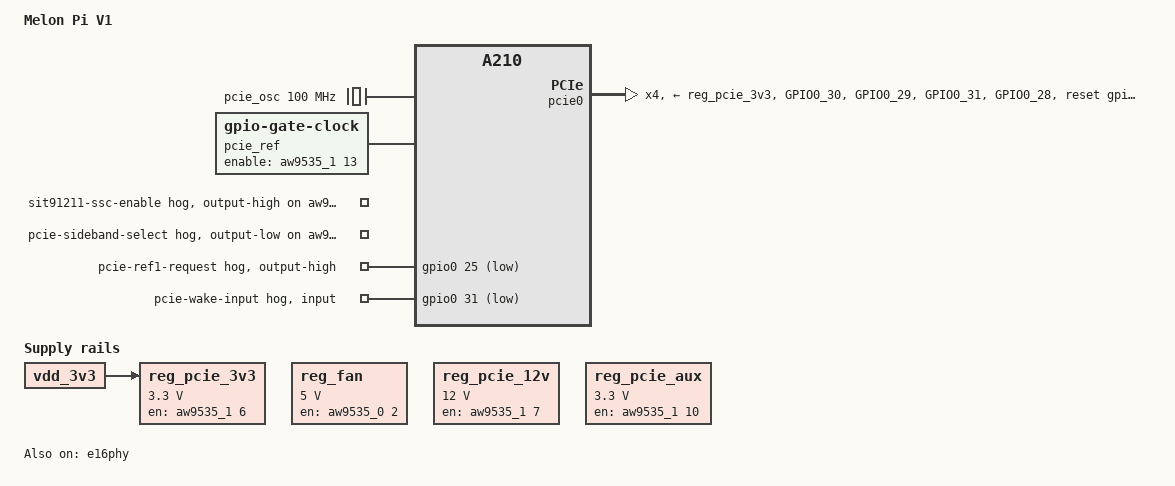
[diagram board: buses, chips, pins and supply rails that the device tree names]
// SPDX-License-Identifier: (GPL-2.0-only OR BSD-2-Clause)
/dts-v1/;

#include "a210-melonpi-common.dtsi"

/ {
	model = "Melon Pi V1";
	compatible = "zhihe,a210-melonpi-v1", "zhihe,a210-som",
		     "zhihe,a210";

	/* U31 P02 controls the TPS25923 feeding the two-pin fan. */
	reg_fan: regulator-fan {
		compatible = "regulator-fixed";
		regulator-name = "fan-5v";
		regulator-min-microvolt = <5000000>;
		regulator-max-microvolt = <5000000>;
		gpio = <&aw9535_0 2 GPIO_ACTIVE_HIGH>;
		enable-active-high;
		regulator-boot-on;
		regulator-always-on;
	};

	/* SIT91211 supplies the 100 MHz PCIe reference. */
	pcie_osc: pcie-oscillator {
		compatible = "fixed-clock";
		#clock-cells = <0>;
		clock-frequency = <100000000>;
	};

	pcie_ref: pcie-reference-clock {
		compatible = "gpio-gate-clock";
		#clock-cells = <0>;
		clocks = <&pcie_osc>;
		enable-gpios = <&aw9535_1 13 GPIO_ACTIVE_HIGH>;
	};

	reg_pcie_3v3: regulator-pcie-3v3 {
		compatible = "regulator-fixed";
		regulator-name = "pcie-3v3";
		regulator-min-microvolt = <3300000>;
		regulator-max-microvolt = <3300000>;
		vin-supply = <&vdd_3v3>;
		gpio = <&aw9535_1 6 GPIO_ACTIVE_HIGH>;
		enable-active-high;
		startup-delay-us = <100000>;
	};

	reg_pcie_12v: regulator-pcie-12v {
		compatible = "regulator-fixed";
		regulator-name = "pcie-12v";
		regulator-min-microvolt = <12000000>;
		regulator-max-microvolt = <12000000>;
		gpio = <&aw9535_1 7 GPIO_ACTIVE_HIGH>;
		enable-active-high;
		startup-delay-us = <100000>;
	};

	reg_pcie_aux: regulator-pcie-aux {
		/* WAKE# shares CHIP_ID1; keep AUX off without a wake consumer. */
		compatible = "regulator-fixed";
		regulator-name = "pcie-3v3-aux";
		regulator-min-microvolt = <3300000>;
		regulator-max-microvolt = <3300000>;
		gpio = <&aw9535_1 10 GPIO_ACTIVE_HIGH>;
		enable-active-high;
	};
};

&aw9535_0 {
	/* Keep the V1 clock control asserted across supply cycles. */
	sit91211-ssc-enable-hog {
		gpio-hog;
		gpios = <12 GPIO_ACTIVE_HIGH>;
		output-high;
		line-name = "sit91211-ssc-enable";
	};

	/* U35 routes the shared pins to PCIe, leaving I2S0 disconnected. */
	pcie-sideband-select-hog {
		gpio-hog;
		gpios = <15 GPIO_ACTIVE_HIGH>;
		output-low;
		line-name = "pcie-sideband-select";
	};
};

&gpio0 {
	/* The x4 link needs PHY1's clock without the x1 controller. */
	pcie-ref1-request-hog {
		gpio-hog;
		gpios = <25 GPIO_ACTIVE_LOW>;
		output-high;
		line-name = "pcie-ref1-request";
	};

	/* The dedicated WAKE function is an output for endpoint mode. */
	pcie-wake-hog {
		gpio-hog;
		gpios = <31 GPIO_ACTIVE_LOW>;
		input;
		line-name = "pcie-wake-input";
	};
};

&peri1_padctrl {
	pcie_sideband_pins: pcie-sideband-0 {
		clkreq-pins {
			pins = "GPIO0_29";
			function = "pcie_x4";
			bias-disable;
			drive-strength = <7>;
			input-enable;
			input-schmitt-enable;
			slew-rate = <0>;
		};

		wake-pins {
			pins = "GPIO0_31";
			function = "gpio0";
			bias-disable;
			drive-strength = <7>;
			input-enable;
			input-schmitt-enable;
			slew-rate = <0>;
		};

		/* BTN_RSTN reaches only TP41 through U35. */
		button-reset-pins {
			pins = "GPIO0_28";
			function = "pcie_x4";
			bias-pull-up;
			drive-strength = <7>;
			input-enable;
			input-schmitt-enable;
			slew-rate = <0>;
		};
	};

	/* The host driver selects GPIO mode when it acquires PERST#. */
	pcie_reset_pins: pcie-reset-0 {
		gpio-pins {
			pins = "GPIO0_30";
			bias-disable;
			drive-strength = <7>;
			input-disable;
		};
	};
};

&e16phy {
	clocks = <&clk_pcie E16PHY_PCLK_EN>, <&pcie_ref>;
	clock-names = "apb", "ref";
	data-lanes = <1 1 1 1>;
	status = "okay";
};

&pcie0 {
	pinctrl-names = "default";
	pinctrl-0 = <&pcie_reset_pins &pcie_sideband_pins>;
	num-lanes = <4>;
	reset-gpios = <&gpio0 30 GPIO_ACTIVE_LOW>;
	vpcie3v3-supply = <&reg_pcie_3v3>;
	vpcie12v-supply = <&reg_pcie_12v>;
	status = "okay";
};

&uart5 {
	status = "disabled";
};

/* UART8 needs the RS232/RS485 switch configured for the attachment. */
&uart8 {
	status = "disabled";
};


&usb3 {
	/* J7 needs support for the MPF52002 Type-C controller at U53. */
	status = "disabled";
};
